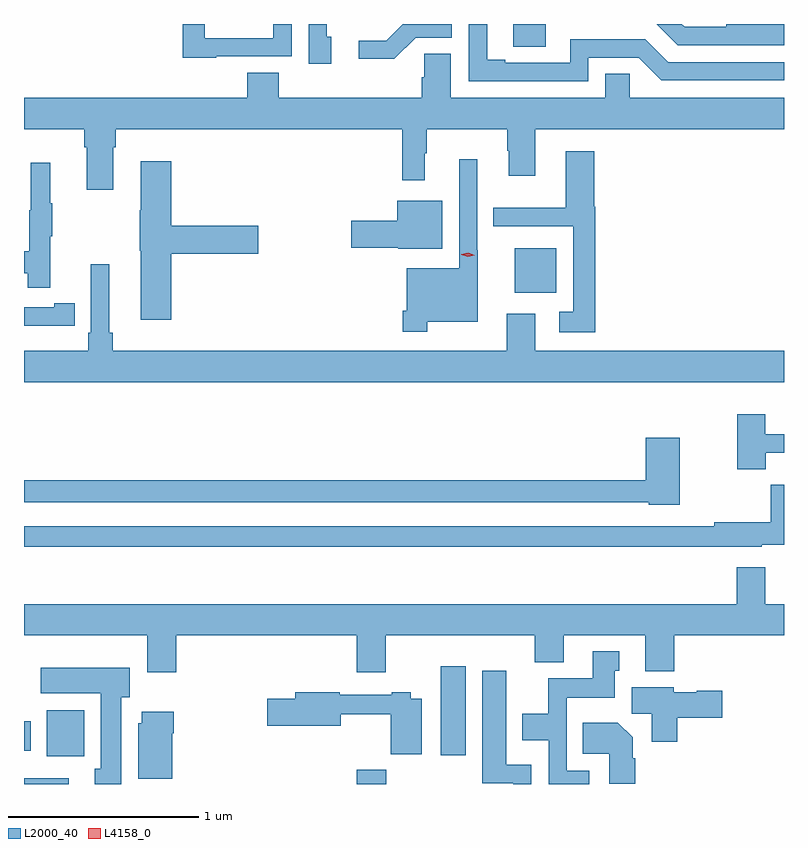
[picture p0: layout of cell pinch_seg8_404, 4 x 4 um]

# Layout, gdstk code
import gdstk
lib = gdstk.Library(unit=1e-6, precision=1e-09)
def R(c, l, rs):  # rectangles x0, y0, x1, y1
    for r in rs: c.add(gdstk.rectangle(r[:2], r[2:], *l))
def P(c, l, *ps):  # polygons
    for p in ps: c.add(gdstk.Polygon(p, *l))
L2000_40 = (2000, 40)
L4158_0 = (4158, 0)

pinch_seg8_404 = lib.new_cell('pinch_seg8_404')
R(pinch_seg8_404, L2000_40, [(505.493,1101.065,505.729,1101.094), (507.245,1101.065,507.4,1101.139), (505.613,1101.212,505.81,1101.454), (507.686,1101.216,507.817,1101.685), (505.493,1101.24,505.528,1101.396), (508.076,1103.651,508.294,1103.884)])
P(pinch_seg8_404, L2000_40, [(509.493,1105.065),(509.395,1105.065),(509.395,1105.063),(509.189,1105.063),(509.189,1105.051),(508.97,1105.051),(508.956,1105.065),(508.824,1105.065),(508.935,1104.954),(509.493,1104.954)],
  [(508.464,1104.888),(508.728,1104.888),(508.848,1104.768),(509.493,1104.768),(509.493,1104.864),(508.884,1104.864),(508.764,1104.984),(508.368,1104.984),(508.368,1104.861),(508.027,1104.861),(508.027,1104.876),(507.931,1104.876),(507.931,1105.065),(507.834,1105.065),(507.834,1104.765),(508.464,1104.765)],
  [(507.109,1104.999),(507.087,1104.999),(507.087,1105.065),(506.991,1105.065),(506.991,1104.855),(507.109,1104.855)],
  [(508.238,1105.057),(508.24,1105.057),(508.24,1105.065),(508.068,1105.065),(508.068,1104.946),(508.238,1104.946)],
  [(506.505,1104.894),(506.901,1104.894),(506.901,1105.065),(506.805,1105.065),(506.805,1104.99),(506.445,1104.99),(506.445,1105.065),(506.329,1105.065),(506.329,1104.887),(506.505,1104.887)],
  [(507.555,1104.993),(507.744,1104.993),(507.744,1105.065),(507.486,1105.065),(507.399,1104.978),(507.255,1104.978),(507.255,1104.881),(507.442,1104.881)],
  [(505.963,1104.416),(505.976,1104.416),(505.976,1104.512),(507.484,1104.512),(507.484,1104.243),(507.602,1104.243),(507.602,1104.386),(507.613,1104.386),(507.613,1104.512),(508.036,1104.512),(508.036,1104.398),(508.043,1104.398),(508.043,1104.267),(508.183,1104.267),(508.183,1104.512),(509.493,1104.512),(509.493,1104.676),(508.68,1104.676),(508.68,1104.803),(508.553,1104.803),(508.553,1104.676),(507.739,1104.676),(507.739,1104.908),(507.6,1104.908),(507.6,1104.785),(507.587,1104.785),(507.587,1104.676),(506.834,1104.676),(506.834,1104.809),(506.669,1104.809),(506.669,1104.676),(505.493,1104.676),(505.493,1104.512),(505.811,1104.512),(505.811,1104.416),(505.823,1104.416),(505.823,1104.192),(505.963,1104.192)],
  [(508.499,1104.103),(508.493,1104.103),(508.493,1104.394),(508.343,1104.394),(508.343,1104.097),(507.964,1104.097),(507.964,1104),(508.383,1104),(508.383,1103.551),(508.311,1103.551),(508.311,1103.442),(508.499,1103.442)],
  [(507.616,1103.498),(507.881,1103.498),(507.881,1103.875),(507.879,1103.875),(507.879,1104.352),(507.783,1104.352),(507.783,1103.779),(507.507,1103.779),(507.507,1103.557),(507.487,1103.557),(507.487,1103.445),(507.616,1103.445)],
  [(506.267,1103.855),(506.725,1103.855),(506.725,1104.002),(506.267,1104.002),(506.267,1104.343),(506.108,1104.343),(506.108,1104.085),(506.101,1104.085),(506.101,1103.871),(506.108,1103.871),(506.108,1103.508),(506.267,1103.508)],
  [(505.631,1103.947),(505.642,1103.947),(505.642,1104.121),(505.631,1104.121),(505.631,1104.334),(505.528,1104.334),(505.528,1104.084),(505.521,1104.084),(505.521,1103.87),(505.493,1103.87),(505.493,1103.754),(505.513,1103.754),(505.513,1103.676),(505.631,1103.676)],
  [(507.694,1104.136),(507.458,1104.136),(507.458,1104.03),(507.216,1104.03),(507.216,1103.888),(507.462,1103.888),(507.462,1103.882),(507.694,1103.882)],
  [(509.493,1103.344),(508.183,1103.344),(508.183,1103.539),(508.034,1103.539),(508.034,1103.344),(505.961,1103.344),(505.961,1103.44),(505.942,1103.44),(505.942,1103.8),(505.845,1103.8),(505.845,1103.44),(505.832,1103.44),(505.832,1103.344),(505.493,1103.344),(505.493,1103.18),(509.493,1103.18)],
  [(505.652,1103.478),(505.76,1103.478),(505.76,1103.594),(505.652,1103.594),(505.652,1103.574),(505.493,1103.574),(505.493,1103.477),(505.652,1103.477)],
  [(509.398,1102.808),(509.493,1102.808),(509.493,1102.905),(509.395,1102.905),(509.395,1103.011),(509.248,1103.011),(509.248,1102.721),(509.398,1102.721)],
  [(508.944,1102.888),(508.766,1102.888),(508.766,1102.664),(505.493,1102.664),(505.493,1102.548),(508.782,1102.548),(508.782,1102.535),(508.944,1102.535)],
  [(509.376,1102.325),(509.493,1102.325),(509.493,1102.639),(509.422,1102.639),(509.422,1102.442),(509.126,1102.442),(509.126,1102.422),(505.493,1102.422),(505.493,1102.314),(509.376,1102.314)],
  [(506.294,1101.848),(507.245,1101.848),(507.245,1101.654),(507.397,1101.654),(507.397,1101.848),(508.181,1101.848),(508.181,1101.707),(508.333,1101.707),(508.333,1101.848),(508.763,1101.848),(508.763,1101.659),(508.916,1101.659),(508.916,1101.848),(509.493,1101.848),(509.493,1102.012),(509.395,1102.012),(509.395,1102.207),(509.243,1102.207),(509.243,1102.012),(505.493,1102.012),(505.493,1101.848),(506.141,1101.848),(506.141,1101.654),(506.294,1101.654)],
  [(508.468,1101.135),(508.35,1101.135),(508.35,1101.518),(508.603,1101.518),(508.603,1101.66),(508.627,1101.66),(508.627,1101.763),(508.487,1101.763),(508.487,1101.622),(508.252,1101.622),(508.252,1101.436),(508.115,1101.436),(508.115,1101.296),(508.254,1101.296),(508.254,1101.065),(508.468,1101.065)],
  [(506.005,1101.522),(506.05,1101.522),(506.05,1101.676),(505.581,1101.676),(505.581,1101.542),(505.898,1101.542),(505.898,1101.146),(505.865,1101.146),(505.865,1101.065),(506.005,1101.065)],
  [(508.164,1101.166),(508.03,1101.166),(508.03,1101.661),(507.905,1101.661),(507.905,1101.069),(508.068,1101.069),(508.068,1101.065),(508.164,1101.065)],
  [(508.931,1101.413),(509.167,1101.413),(509.167,1101.555),(509.034,1101.555),(509.034,1101.547),(508.914,1101.547),(508.914,1101.574),(508.691,1101.574),(508.691,1101.436),(508.796,1101.436),(508.796,1101.288),(508.931,1101.288)],
  [(507.586,1101.514),(507.528,1101.514),(507.528,1101.547),(507.428,1101.547),(507.428,1101.534),(507.156,1101.534),(507.156,1101.547),(506.921,1101.547),(506.921,1101.513),(506.772,1101.513),(506.772,1101.371),(507.16,1101.371),(507.16,1101.433),(507.424,1101.433),(507.424,1101.221),(507.586,1101.221)],
  [(506.272,1101.332),(506.28,1101.332),(506.28,1101.445),(506.114,1101.445),(506.114,1101.384),(506.093,1101.384),(506.093,1101.092),(506.272,1101.092)],
  [(508.709,1101.2),(508.696,1101.2),(508.696,1101.31),(508.618,1101.388),(508.435,1101.388),(508.435,1101.224),(508.574,1101.224),(508.574,1101.066),(508.709,1101.066)])
P(pinch_seg8_404, L4158_0, [(507.829,1103.84),(507.793,1103.851),(507.793,1103.852),(507.793,1103.852),(507.83,1103.86),(507.865,1103.849),(507.865,1103.849),(507.865,1103.848)])

lib.write_gds('pinch_seg8_404.gds')
